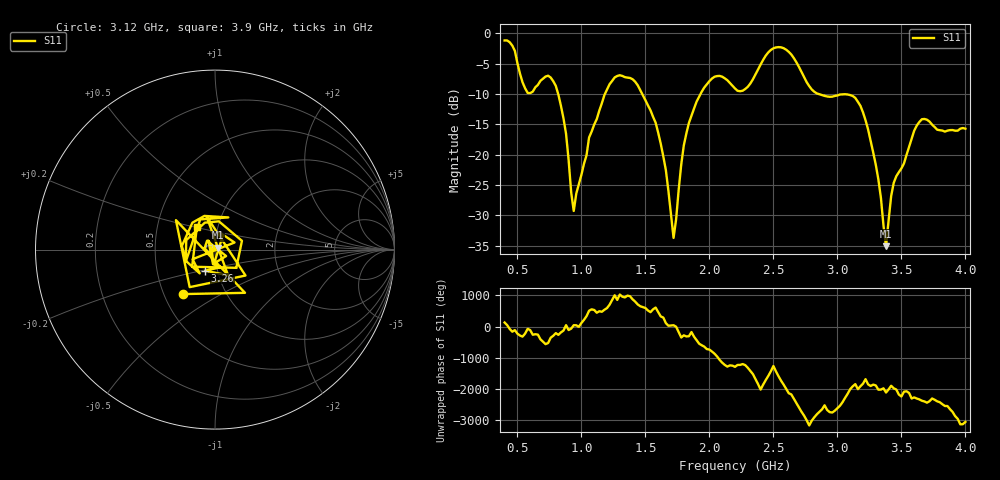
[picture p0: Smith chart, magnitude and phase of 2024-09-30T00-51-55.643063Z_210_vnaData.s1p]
!Created with skrf (http://scikit-rf.org).
# Hz S RI R 50.0
!freq ReS11 ImS11
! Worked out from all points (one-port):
!   181 points, 400 MHz to 4 GHz, reference 50 ohm
!   lowest |S11| = -35.1 dB at 3.38 GHz (marker M1), VSWR 1.04, Z = 51.5 + j1.03 ohm
!   |S11| at or under -10 dB: 818.5 MHz to 1.184 GHz (365.1 MHz wide, 36.5 % of centre); 1.476 GHz to 1.931 GHz (454.9 MHz wide, 26.7 % of centre); 2.853 GHz to end of sweep
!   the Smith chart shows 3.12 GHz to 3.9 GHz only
!   S11 on the Smith chart (normalised r, x): 3.12 GHz: 0.63, -0.34; 3.26 GHz: 0.87, -0.21; 3.9 GHz: 0.79, +0.20
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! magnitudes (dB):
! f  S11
! 400 MHz  -1.2
! 580 MHz  -9.8
! 760 MHz  -7.3
! 860 MHz  -14.0
! 940 MHz  -29.3
! 1.06 GHz  -17.2
! 1.3 GHz  -6.9
! 1.58 GHz  -14.7
! 1.66 GHz  -22.6
! 1.72 GHz  -33.7
! 1.76 GHz  -25.8
! 1.82 GHz  -16.5
! 1.94 GHz  -9.6
! 2.06 GHz  -7.0
! 2.2 GHz  -9.1
! 2.5 GHz  -2.5
! 2.66 GHz  -4.1
! 2.82 GHz  -9.6
! 3.1 GHz  -10.2
! 3.12 GHz  -10.3
! 3.26 GHz  -17.7
! 3.32 GHz  -24.1
! 3.38 GHz  -35.1
! 3.44 GHz  -24.7
! 3.56 GHz  -18.7
! 3.66 GHz  -14.2
! 3.9 GHz  -15.9
! 4 GHz  -15.7
